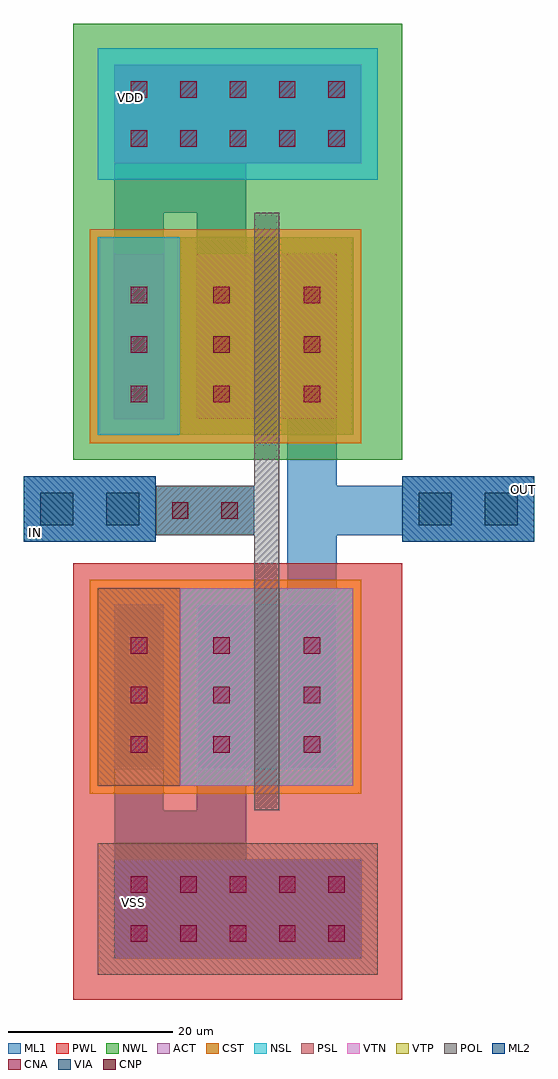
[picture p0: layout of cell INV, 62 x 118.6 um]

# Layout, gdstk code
import gdstk
lib = gdstk.Library(unit=1e-6, precision=1e-09)
def R(c, l, rs):  # rectangles x0, y0, x1, y1
    for r in rs: c.add(gdstk.rectangle(r[:2], r[2:], *l))
def A(c, l, x, y, w, h, nx, ny, dx, dy):  # array of equal rectangles
    R(c, l, [(x+i*dx, y+j*dy, x+i*dx+w, y+j*dy+h) for i in range(nx) for j in range(ny)])
NWL = (1, 0)
PWL = (2, 0)
CST = (3, 0)
ACT = (4, 0)
VTN = (5, 0)
VTP = (6, 0)
POL = (7, 0)
NSL = (8, 0)
PSL = (9, 0)
CNA = (10, 0)
CNP = (11, 0)
ML1 = (12, 0)
VIA = (13, 0)
ML2 = (14, 0)

inv = lib.new_cell('INV')
R(inv, NWL, [(18,75.6,58,128.6)])
R(inv, PWL, [(18,10,58,63)])
R(inv, CST, [(20,35,53,61), (20,77.6,53,103.6)])
A(inv, ACT, 23, 15, 6, 6, 5, 2, 6, 6)
A(inv, ACT, 33, 80.6, 6, 6, 1, 3, 0, 6)
A(inv, ACT, 44, 80.6, 6, 6, 1, 3, 0, 6)
A(inv, ACT, 23, 111.6, 6, 6, 5, 2, 6, 6)
R(inv, ACT, [(23,38,29,58), (33,38,50,58), (23,80.6,29,100.6), (33,80.6,50,100.6), (23,86.6,29,92.6)])
R(inv, VTN, [(31,36,52,60)])
R(inv, VTP, [(31,78.6,52,102.6)])
R(inv, POL, [(40,33,43,69), (28,66.4,40,72.4), (40,68,43,105.6)])
R(inv, NSL, [(31,36,52,60), (21,78.6,31,102.6), (21,109.6,55,125.6)])
R(inv, PSL, [(21,13,55,29), (21,36,31,60), (31,78.6,52,102.6)])
A(inv, CNA, 25, 17, 2, 2, 5, 2, 6, 6)
A(inv, CNA, 25, 40, 2, 2, 1, 3, 0, 6)
A(inv, CNA, 35, 40, 2, 2, 1, 3, 0, 6)
A(inv, CNA, 46, 40, 2, 2, 1, 3, 0, 6)
A(inv, CNA, 25, 82.6, 2, 2, 1, 3, 0, 6)
A(inv, CNA, 35, 82.6, 2, 2, 1, 3, 0, 6)
A(inv, CNA, 46, 82.6, 2, 2, 1, 3, 0, 6)
A(inv, CNA, 25, 113.6, 2, 2, 5, 2, 6, 6)
R(inv, CNP, [(30,68.4,32,70.4), (36,68.4,38,70.4)])
A(inv, ML1, 23, 15, 6, 6, 5, 2, 6, 6)
A(inv, ML1, 23, 111.6, 6, 6, 5, 2, 6, 6)
R(inv, ML1, [(23,27,29,39), (27,27,35,33), (33,27,39,39), (23,38,29,44), (33,38,39,44), (44,38,50,44), (23,44,29,50), (33,44,39,50), (44,44,50,50), (23,50,29,58), (33,50,39,58), (44,50,50,59), (44,57,50,82), (12,65.6,20,73.6), (20,65.6,28,73.6), (58,65.6,66,73.6), (66,65.6,74,73.6), (28,66.4,34,72.4), (34,66.4,40,72.4), (47,66.4,66,72.4), (23,80.6,29,86.6), (33,80.6,39,86.6), (44,80.6,50,86.6), (23,86.6,29,92.6), (33,86.6,39,92.6), (44,86.6,50,92.6), (23,92.6,29,111.6), (33,92.6,39,101.6), (44,92.6,50,100.6), (33,99.9,39,111.6), (27,105.6,35,111.6)])
R(inv, VIA, [(14,67.6,18,71.6), (22,67.6,26,71.6), (60,67.6,64,71.6), (68,67.6,72,71.6)])
R(inv, ML2, [(12,65.6,20,73.6), (20,65.6,28,73.6), (58,65.6,66,73.6), (66,65.6,74,73.6)])
inv.add(gdstk.Label('VDD', (25,119.6), layer=31, texttype=0))
inv.add(gdstk.Label('OUT', (72.7,72), layer=31, texttype=0))
inv.add(gdstk.Label('VSS', (25.3,21.8), layer=31, texttype=0))
inv.add(gdstk.Label('IN', (13.4,66.8), layer=31, texttype=0))

lib.write_gds('INV.gds')
